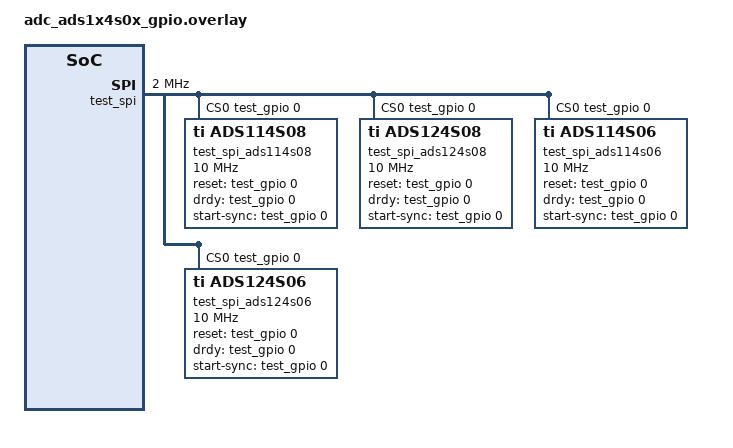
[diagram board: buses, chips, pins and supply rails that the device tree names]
/*
 * Copyright (c) 2024 TOKITA Hiroshi
 *
 * SPDX-License-Identifier: Apache-2.0
 */

/ {
	test {
		#address-cells = <1>;
		#size-cells = <1>;

		test_spi: spi@33334444 {
			compatible = "vnd,spi";
			reg = <0x33334444 0x1000>;
			#address-cells = <1>;
			#size-cells = <0>;
			clock-frequency = <2000000>;

			cs-gpios = <&test_gpio 0 0>;
			status = "okay";

			test_spi_ads114s08: ads114s08@0 {
				compatible = "ti,ads114s08";
				reg = <0x00>;
				spi-max-frequency = <10000000>;
				#address-cells = <1>;
				#size-cells = <0>;
				#io-channel-cells = <1>;
				reset-gpios = <&test_gpio 0 0>;
				drdy-gpios = <&test_gpio 0 0>;
				start-sync-gpios = <&test_gpio 0 0>;
				status = "okay";

				test_spi_ads114s08_gpio: ads1x4s0x_gpio {
					compatible = "ti,ads1x4s0x-gpio";
					gpio-controller;
					ngpios = <4>;
					#gpio-cells = <2>;
				};
			};

			test_spi_ads124s08: ads124s08@0 {
				compatible = "ti,ads124s08";
				reg = <0x00>;
				spi-max-frequency = <10000000>;
				#address-cells = <1>;
				#size-cells = <0>;
				#io-channel-cells = <1>;
				reset-gpios = <&test_gpio 0 0>;
				drdy-gpios = <&test_gpio 0 0>;
				start-sync-gpios = <&test_gpio 0 0>;
				status = "okay";

				test_spi_ads124s08_gpio: ads1x4s0x_gpio {
					compatible = "ti,ads1x4s0x-gpio";
					gpio-controller;
					ngpios = <4>;
					#gpio-cells = <2>;
				};
			};

			test_spi_ads114s06: ads114s06@0 {
				compatible = "ti,ads114s06";
				reg = <0x00>;
				spi-max-frequency = <10000000>;
				#address-cells = <1>;
				#size-cells = <0>;
				#io-channel-cells = <1>;
				reset-gpios = <&test_gpio 0 0>;
				drdy-gpios = <&test_gpio 0 0>;
				start-sync-gpios = <&test_gpio 0 0>;
				status = "okay";

				test_spi_ads114s06_gpio: ads1x4s0x_gpio {
					compatible = "ti,ads1x4s0x-gpio";
					gpio-controller;
					ngpios = <4>;
					#gpio-cells = <2>;
				};
			};

			test_spi_ads124s06: ads124s06@0 {
				compatible = "ti,ads124s06";
				reg = <0x00>;
				spi-max-frequency = <10000000>;
				#address-cells = <1>;
				#size-cells = <0>;
				#io-channel-cells = <1>;
				reset-gpios = <&test_gpio 0 0>;
				drdy-gpios = <&test_gpio 0 0>;
				start-sync-gpios = <&test_gpio 0 0>;
				status = "okay";

				test_spi_ads124s06_gpio: ads1x4s0x_gpio {
					compatible = "ti,ads1x4s0x-gpio";
					gpio-controller;
					ngpios = <4>;
					#gpio-cells = <2>;
				};
			};
		};

		test_gpio: gpio@deadbeef {
			compatible = "vnd,gpio";
			reg = <0xdeadbeef 0x1000>;
			gpio-controller;
			#gpio-cells = <0x2>;
			status = "okay";
		};
	};
};
